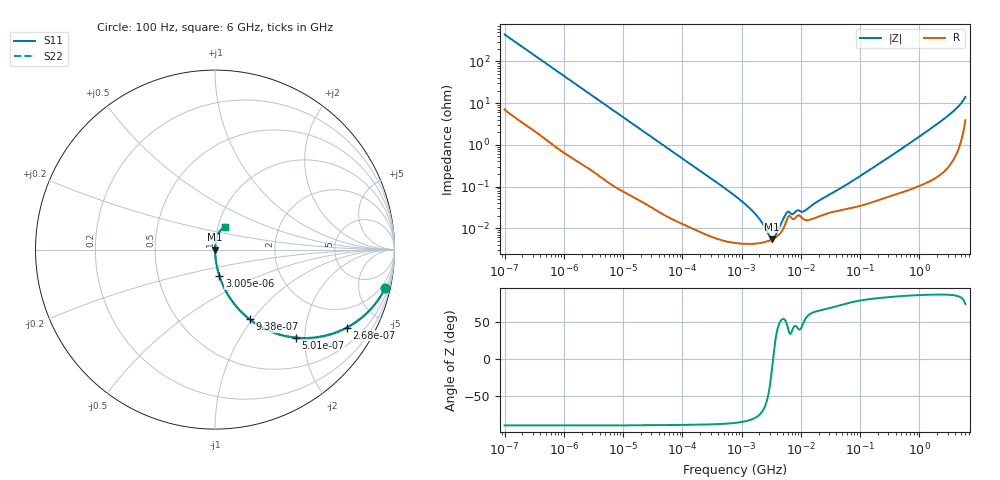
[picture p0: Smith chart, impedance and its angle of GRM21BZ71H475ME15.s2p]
!Murata Part Number: GRM21BZ71H475ME15
!These Parameters are Measured in Series Mode Connection
!Data Generated on Mar 30, 2021
!  o--ll--o
!Port1  Port2
!  o------o
!Operation Temp=25[degC], DC Bias Voltage=0[V]
!Freq. Start=100[Hz] Stop=6[GHz] 401[Steps]
# Hz S RI R 50
!Freq.(Hz) S11(Real) S11(Imag) S21(Real) S21(Imag) S12(Real) S12(Imag) S22(Real) S22(Imag)
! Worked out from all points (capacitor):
!   401 points, 100 Hz to 6 GHz, reference 50 ohm
!   read as one part in series: C = 3.57 uF near 109 Hz
!   lowest |Z| = 5.48 mohm at 3.246 MHz (marker M1)
!   series resonance near 3.392 MHz, so ESL is about 620 pH
!   S11 on the Smith chart (normalised r, x): 100 Hz: 1.14, -8.90; 268 Hz: 1.05, -3.35; 501 Hz: 1.03, -1.80; 938 Hz: 1.01, -0.97; 3.005 kHz: 1.00, -0.31; 6 GHz: 1.08, +0.27
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100  0.9489 -0.2125  0.0511 0.2125  0.0511 0.2125  0.9489 -0.2125
164  0.878 -0.3198  0.122 0.3198  0.122 0.3198  0.878 -0.3198
268  0.7342 -0.4342  0.2658 0.4342  0.2658 0.4342  0.7342 -0.4342
501  0.4488 -0.4901  0.5512 0.4901  0.5512 0.4901  0.4488 -0.4901
938  0.1931 -0.3877  0.8069 0.3877  0.8069 0.3877  0.1931 -0.3877
2008  0.0522 -0.2149  0.9478 0.2149  0.9478 0.2149  0.0522 -0.2149
3005  0.025 -0.1485  0.975 0.1485  0.975 0.1485  0.025 -0.1485
8801  0.00359 -0.0524  0.9964 0.0524  0.9964 0.0524  0.00359 -0.0524
40335  0.000381 -0.0117  0.9996 0.0117  0.9996 0.0117  0.000381 -0.0117
774597  4.45e-05 -0.000598  1 0.000598  1 0.000598  4.45e-05 -0.000598
1516199  4.23e-05 -0.00026  1 0.00026  1 0.00026  4.23e-05 -0.00026
2481164  4.66e-05 -9.38e-05  1 9.38e-05  1 9.38e-05  4.66e-05 -9.38e-05
3245845  5.32e-05 -1.33e-05  0.9999 1.33e-05  0.9999 1.33e-05  5.32e-05 -1.33e-05
4246196  6.89e-05 7.13e-05  0.9999 -7.13e-05  0.9999 -7.13e-05  6.89e-05 7.13e-05
5554849  0.000134 0.000168  0.9999 -0.000168  0.9999 -0.000168  0.000134 0.000168
6075234  0.000188 0.000166  0.9998 -0.000166  0.9998 -0.000166  0.000188 0.000166
1.137099e7  0.000161 0.000198  0.9998 -0.000198  0.9998 -0.000198  0.000161 0.000198
1.555665e7  0.000166 0.000318  0.9998 -0.000318  0.9998 -0.000318  0.000166 0.000318
3.124326e8  0.000601 0.0051  0.9994 -0.0051  0.9994 -0.0051  0.000601 0.0051
2.679998e9  0.00418 0.0429  0.9958 -0.0429  0.9958 -0.0429  0.00418 0.0429
4.193612e9  0.0111 0.0724  0.9889 -0.0724  0.9889 -0.0724  0.0111 0.0724
6e9  0.0536 0.1239  0.9464 -0.1239  0.9464 -0.1239  0.0536 0.1239
